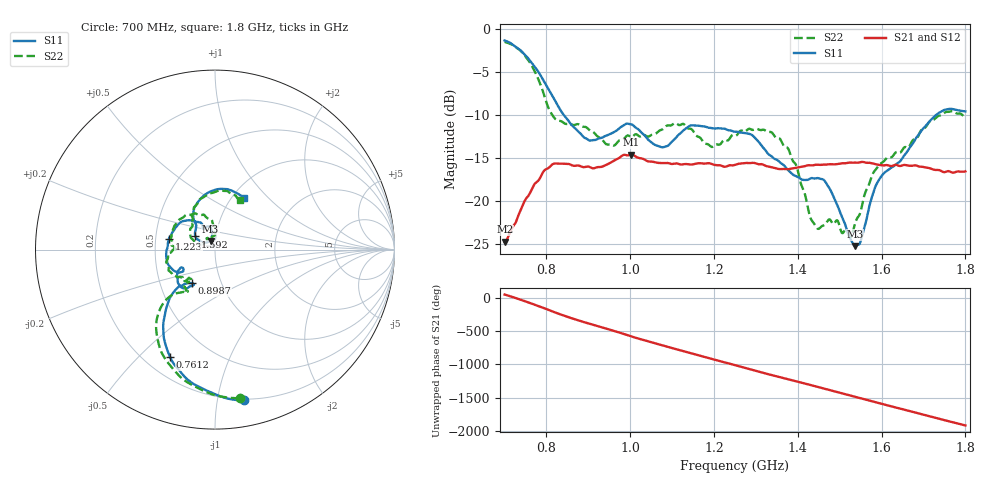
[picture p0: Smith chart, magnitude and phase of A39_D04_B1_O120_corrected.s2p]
! Created with skrf 1.9.0 (http://scikit-rf.org).
# Hz S RI R 50.0
!freq ReS11 ImS11 ReS21 ImS21 ReS12 ImS12 ReS22 ImS22
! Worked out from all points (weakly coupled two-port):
!   1601 points, 700 MHz to 1.8 GHz, reference 50 ohm
!   highest |S21| = -14.59 dB at 1.002 GHz (marker M1); lowest = -24.7 dB at 700.7 MHz (marker M2)
!   lowest |S11| = -25.2 dB at 1.537 GHz (marker M3), VSWR 1.12, Z = 47.3 + j4.63 ohm
!   |S11| at or under -10 dB: 841.2 MHz to 1.73 GHz (888.8 MHz wide, 69.1 % of centre)
!   |S22| runs from -24.2 to -1.5 dB; largest |S21 - S12| = 0.0033
!   S11 on the Smith chart (normalised r, x): 700 MHz: 0.19, -1.20; 761.2 MHz: 0.30, -0.62; 898.7 MHz: 0.72, -0.28; 1.223 GHz: 0.59, +0.07; 1.592 GHz: 0.80, +0.12; 1.8 GHz: 1.13, +0.74
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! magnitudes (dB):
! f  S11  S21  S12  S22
! 700 MHz  -1.4  -24.7  -24.5  -1.5
! 700.7 MHz  -1.4  -24.7  -24.4  -1.5
! 761.2 MHz  -3.7  -19.0  -18.9  -4.0
! 818.2 MHz  -8.1  -15.6  -15.7  -10.3
! 883.6 MHz  -12.3  -16.0  -15.9  -11.3
! 898.7 MHz  -12.9  -16.0  -16.0  -11.6
! 946.1 MHz  -12.3  -15.7  -15.7  -13.4
! 1.002 GHz  -11.1  -14.6  -14.7  -12.6
! 1.067 GHz  -13.6  -15.6  -15.5  -11.9
! 1.145 GHz  -11.2  -15.8  -15.8  -11.6
! 1.223 GHz  -11.6  -16.0  -16.0  -12.9
! 1.25 GHz  -11.9  -15.8  -15.7  -12.4
! 1.357 GHz  -15.5  -16.3  -16.2  -12.8
! 1.396 GHz  -17.1  -16.1  -16.1  -15.9
! 1.434 GHz  -17.3  -15.9  -15.8  -22.3
! 1.47 GHz  -18.1  -15.7  -15.7  -22.4
! 1.525 GHz  -24.3  -15.5  -15.5  -24.2
! 1.537 GHz  -25.2  -15.5  -15.5  -22.6
! 1.592 GHz  -17.6  -15.8  -15.8  -15.9
! 1.617 GHz  -16.3  -15.9  -15.8  -14.9
! 1.733 GHz  -9.9  -16.4  -16.4  -10.2
! 1.8 GHz  -9.6  -16.5  -16.5  -10.2
